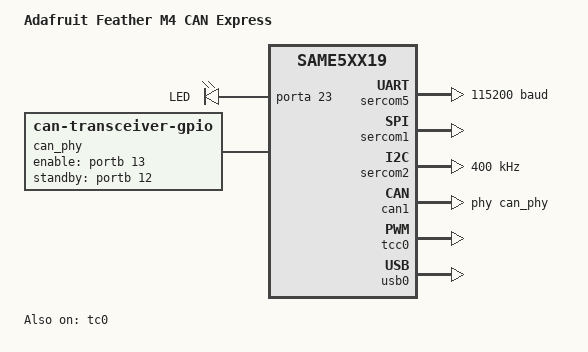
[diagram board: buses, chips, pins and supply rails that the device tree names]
/*
 * Copyright (c) 2026 Frank Pagliughi
 *
 * SPDX-License-Identifier: Apache-2.0
 */

/dts-v1/;
#include <atmel/same5xx19.dtsi>
#include "adafruit_feather_m4_can_express-pinctrl.dtsi"
#include <zephyr/dt-bindings/gpio/gpio.h>
#include <zephyr/dt-bindings/i2c/i2c.h>

/ {
	model = "Adafruit Feather M4 CAN Express";
	compatible = "adafruit,feather-m4-can-express";

	chosen {
		zephyr,console = &sercom5;
		zephyr,shell-uart = &sercom5;
		zephyr,sram = &sram0;
		zephyr,flash = &flash0;
		zephyr,code-partition = &code_partition;
		zephyr,canbus = &can1;
	};

	/* These aliases are provided for compatibility with samples */
	aliases {
		led0 = &led0;
		pwm-0 = &tcc0;
		pwm-1 = &tc0;
	};

	leds {
		compatible = "gpio-leds";

		led0: led_0 {
			gpios = <&porta 23 GPIO_ACTIVE_HIGH>;
			label = "LED";
		};
	};

	can_phy: can-phy {
		compatible = "can-transceiver-gpio";
		/* BOOST_ENABLE powers the on-board 5V CAN transceiver supply */
		enable-gpios = <&portb 13 GPIO_ACTIVE_HIGH>;
		/* CAN_STANDBY brings the transceiver out of standby when low */
		standby-gpios = <&portb 12 GPIO_ACTIVE_HIGH>;
		max-bitrate = <5000000>;
		#phy-cells = <0>;
	};
};

&cpu0 {
	clock-frequency = <120000000>;
};

&sercom5 {
	status = "okay";
	compatible = "atmel,sam0-uart";
	current-speed = <115200>;
	rxpo = <1>;
	txpo = <0>;
	pinctrl-0 = <&sercom5_uart_default>;
	pinctrl-names = "default";
};

&sercom1 {
	status = "okay";
	compatible = "atmel,sam0-spi";
	dipo = <3>;
	dopo = <0>;
	#address-cells = <1>;
	#size-cells = <0>;
	pinctrl-0 = <&sercom1_spi_default>;
	pinctrl-names = "default";
};

&sercom2 {
	status = "okay";
	compatible = "atmel,sam0-i2c";
	clock-frequency = <I2C_BITRATE_FAST>;
	#address-cells = <1>;
	#size-cells = <0>;
	pinctrl-0 = <&sercom2_i2c_default>;
	pinctrl-names = "default";
};

&can1 {
	status = "okay";
	pinctrl-0 = <&can1_default>;
	pinctrl-names = "default";
	phys = <&can_phy>;
};

&tcc0 {
	status = "okay";
	compatible = "atmel,sam0-tcc-pwm";
	prescaler = <8>;
	#pwm-cells = <2>;
	pinctrl-0 = <&pwm0_default>;
	pinctrl-names = "default";
};

&tc0 {
	status = "okay";
	compatible = "atmel,sam0-tc-pwm";
	prescaler = <1024>;
	#pwm-cells = <2>;
	channels = <2>;
	counter-size = <16>;
	pinctrl-0 = <&tc0_default>;
	pinctrl-names = "default";
};

zephyr_udc0: &usb0 {
	status = "okay";
	pinctrl-0 = <&usb_dc_default>;
	pinctrl-names = "default";
};

&dmac {
	status = "okay";
};

&flash0 {
	partitions {
		compatible = "fixed-partitions";
		#address-cells = <1>;
		#size-cells = <1>;

		boot_partition: partition@0 {
			label = "uf2";
			reg = <0x00000000 DT_SIZE_K(16)>;
			read-only;
		};

		code_partition: partition@4000 {
			label = "code";
			reg = <0x4000 DT_SIZE_K(512-16-16)>;
			read-only;
		};

		/*
		 * The final 16 KiB is reserved for the application.
		 * Storage partition will be used by FCB/LittleFS/NVS
		 * if enabled.
		 */
		storage_partition: partition@7c000 {
			label = "storage";
			reg = <0x7c000 DT_SIZE_K(16)>;
		};
	};
};
